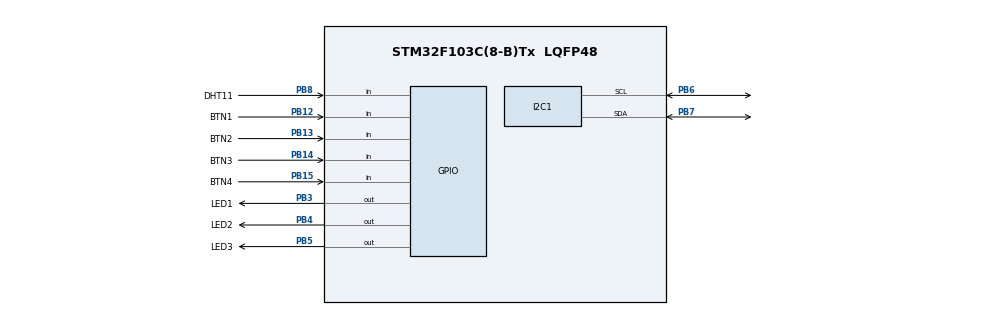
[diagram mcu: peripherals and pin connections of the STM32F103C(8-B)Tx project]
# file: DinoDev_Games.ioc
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Mcu.Family=STM32F1
Mcu.Name=STM32F103C(8-B)Tx
Mcu.Package=LQFP48
NVIC.PriorityGroup=NVIC_PRIORITYGROUP_4
PA13.Mode=Serial_Wire
PA13.Signal=SYS_JTMS-SWDIO
PA14.Mode=Serial_Wire
PA14.Signal=SYS_JTCK-SWCLK
PB12.GPIO_Label=BTN1
PB12.GPIO_PuPd=GPIO_PULLUP
PB12.Signal=GPIO_Input
PB13.GPIO_Label=BTN2
PB13.GPIO_PuPd=GPIO_PULLUP
PB13.Signal=GPIO_Input
PB14.GPIO_Label=BTN3
PB14.GPIO_PuPd=GPIO_PULLUP
PB14.Signal=GPIO_Input
PB15.GPIO_Label=BTN4
PB15.GPIO_PuPd=GPIO_PULLUP
PB15.Signal=GPIO_Input
PB3.GPIO_Label=LED1
PB3.PinState=GPIO_PIN_RESET
PB3.Signal=GPIO_Output
PB4.GPIO_Label=LED2
PB4.Signal=GPIO_Output
PB5.GPIO_Label=LED3
PB5.Signal=GPIO_Output
PB6.Mode=I2C
PB6.Signal=I2C1_SCL
PB7.Mode=I2C
PB7.Signal=I2C1_SDA
PB8.GPIO_Label=DHT11
PB8.Signal=GPIO_Input
PD0-OSC_IN.Mode=HSE-External-Oscillator
PD0-OSC_IN.Signal=RCC_OSC_IN
PD1-OSC_OUT.Mode=HSE-External-Oscillator
PD1-OSC_OUT.Signal=RCC_OSC_OUT
ProjectManager.HeapSize=0x200
ProjectManager.StackSize=0x400
ProjectManager.TargetToolchain=STM32CubeIDE
RCC.APB1Freq_Value=8000000
RCC.APB2Freq_Value=8000000
board=custom

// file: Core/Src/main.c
/* USER CODE BEGIN Header */
/**
 ******************************************************************************
 * @file           : main.c
 * @brief          : Main program body
 ******************************************************************************
 * @attention
 *
 * Copyright (c) 2023 STMicroelectronics.
 * All rights reserved.
 *
 * This software is licensed under terms that can be found in the LICENSE file
 * in the root directory of this software component.
 * If no LICENSE file comes with this software, it is provided AS-IS.
 *
 ******************************************************************************
 */
/* USER CODE END Header */
#include "main.h"

/* USER CODE BEGIN Includes */
#include "tetris.h"
#include "SpaceInvaders.h"
#include "ssd1306.h"
#include "button.h"
#include "Dino.h"
/* USER CODE END Includes */

/* USER CODE BEGIN PTD */
button BTNUP, BTNLEFT, BTNRIGHT, BTNDOWN;
/* USER CODE END PTD */

I2C_HandleTypeDef hi2c1;

void SystemClock_Config(void);
static void MX_GPIO_Init(void);
static void MX_I2C1_Init(void);

/* USER CODE BEGIN 0 */
void printPointer(uint8_t ptr)
{
	ssd1306_SetCursor(0, ptr * 10);
	ssd1306_WriteString(">", Font_7x10, White);
}

/* USER CODE END 0 */

int main(void)
{

	/* MCU Configuration--------------------------------------------------------*/

	/* Reset of all peripherals, Initializes the Flash interface and the Systick. */
	HAL_Init();

	/* Configure the system clock */
	SystemClock_Config();

	/* Initialize all configured peripherals */
	MX_GPIO_Init();
	MX_I2C1_Init();
	/* USER CODE BEGIN 2 */
	ssd1306_Init();
	BTNUP.PIN = GPIO_PIN_12;
	BTNUP.PORT = GPIOB;
	BTNUP.StateFlag = 0;
	BTNLEFT.PIN = GPIO_PIN_13;
	BTNLEFT.PORT = GPIOB;
	BTNLEFT.StateFlag = 0;
	BTNRIGHT.PIN = GPIO_PIN_14;
	BTNRIGHT.PORT = GPIOB;
	BTNRIGHT.StateFlag = 0;

	BTNDOWN.PIN = GPIO_PIN_15;
	BTNDOWN.PORT = GPIOB;
	BTNDOWN.StateFlag = 0;
	/* USER CODE END 2 */

	/* Infinite loop */
	/* USER CODE BEGIN WHILE */
	while (1)
	{
		static uint8_t pointer = 0;
		ssd1306_Fill(Black);
		ssd1306_SetCursor(7, 0);
		ssd1306_WriteString("Tetris", Font_6x8, White);
		ssd1306_SetCursor(7, 8);
		ssd1306_WriteString("Space Invaders", Font_6x8, White);
		ssd1306_SetCursor(7, 16);
		ssd1306_WriteString("Dino Run", Font_6x8, White);
		printPointer(pointer);
		if (Button_Check(BTNDOWN))
		{
			if (pointer > -1 && pointer < 3)
			{
				pointer++;
			}
		}
		else if (Button_Check(BTNUP))
		{
			if (pointer > 0 && pointer < 4)
			{
				pointer--;
			}
		}
		else if (Button_Check(BTNRIGHT))
		{
			switch (pointer)
			{
			case 0:
			{
				Tetris_GameLoop();
				break;
			}
			case 1:
			{
				SpaceInvaders_GameLoop();
				break;
			}
			case 2:
			{
				DinoGameLoop();
				break;
			}
			}
		}
		ssd1306_UpdateScreen();
		/* USER CODE END WHILE */

	}
}

void SystemClock_Config(void)
{
	RCC_OscInitTypeDef RCC_OscInitStruct =
	{ 0 };
	RCC_ClkInitTypeDef RCC_ClkInitStruct =
	{ 0 };

	/** Initializes the RCC Oscillators according to the specified parameters
	 * in the RCC_OscInitTypeDef structure.
	 */
	RCC_OscInitStruct.OscillatorType = RCC_OSCILLATORTYPE_HSI;
	RCC_OscInitStruct.HSIState = RCC_HSI_ON;
	RCC_OscInitStruct.HSICalibrationValue = RCC_HSICALIBRATION_DEFAULT;
	RCC_OscInitStruct.PLL.PLLState = RCC_PLL_NONE;
	if (HAL_RCC_OscConfig(&RCC_OscInitStruct) != HAL_OK)
	{
		Error_Handler();
	}

	/** Initializes the CPU, AHB and APB buses clocks
	 */
	RCC_ClkInitStruct.ClockType = RCC_CLOCKTYPE_HCLK | RCC_CLOCKTYPE_SYSCLK
			| RCC_CLOCKTYPE_PCLK1 | RCC_CLOCKTYPE_PCLK2;
	RCC_ClkInitStruct.SYSCLKSource = RCC_SYSCLKSOURCE_HSI;
	RCC_ClkInitStruct.AHBCLKDivider = RCC_SYSCLK_DIV1;
	RCC_ClkInitStruct.APB1CLKDivider = RCC_HCLK_DIV1;
	RCC_ClkInitStruct.APB2CLKDivider = RCC_HCLK_DIV1;

	if (HAL_RCC_ClockConfig(&RCC_ClkInitStruct, FLASH_LATENCY_0) != HAL_OK)
	{
		Error_Handler();
	}
}

static void MX_I2C1_Init(void)
{

	hi2c1.Instance = I2C1;
	hi2c1.Init.ClockSpeed = 100000;
	hi2c1.Init.DutyCycle = I2C_DUTYCYCLE_2;
	hi2c1.Init.OwnAddress1 = 0;
	hi2c1.Init.AddressingMode = I2C_ADDRESSINGMODE_7BIT;
	hi2c1.Init.DualAddressMode = I2C_DUALADDRESS_DISABLE;
	hi2c1.Init.OwnAddress2 = 0;
	hi2c1.Init.GeneralCallMode = I2C_GENERALCALL_DISABLE;
	hi2c1.Init.NoStretchMode = I2C_NOSTRETCH_DISABLE;
	if (HAL_I2C_Init(&hi2c1) != HAL_OK)
	{
		Error_Handler();
	}

}

static void MX_GPIO_Init(void)
{
	GPIO_InitTypeDef GPIO_InitStruct =
	{ 0 };

	/* GPIO Ports Clock Enable */
	__HAL_RCC_GPIOD_CLK_ENABLE();
	__HAL_RCC_GPIOB_CLK_ENABLE();
	__HAL_RCC_GPIOA_CLK_ENABLE();

	/*Configure GPIO pin Output Level */
	HAL_GPIO_WritePin(GPIOB, LED1_Pin | LED2_Pin | LED3_Pin, GPIO_PIN_RESET);

	/*Configure GPIO pins : BTN1_Pin BTN2_Pin BTN3_Pin BTN4_Pin */
	GPIO_InitStruct.Pin = BTN1_Pin | BTN2_Pin | BTN3_Pin | BTN4_Pin;
	GPIO_InitStruct.Mode = GPIO_MODE_INPUT;
	GPIO_InitStruct.Pull = GPIO_PULLUP;
	HAL_GPIO_Init(GPIOB, &GPIO_InitStruct);

	/*Configure GPIO pins : LED1_Pin LED2_Pin LED3_Pin */
	GPIO_InitStruct.Pin = LED1_Pin | LED2_Pin | LED3_Pin;
	GPIO_InitStruct.Mode = GPIO_MODE_OUTPUT_PP;
	GPIO_InitStruct.Pull = GPIO_NOPULL;
	GPIO_InitStruct.Speed = GPIO_SPEED_FREQ_LOW;
	HAL_GPIO_Init(GPIOB, &GPIO_InitStruct);

	/*Configure GPIO pin : DHT11_Pin */
	GPIO_InitStruct.Pin = DHT11_Pin;
	GPIO_InitStruct.Mode = GPIO_MODE_INPUT;
	GPIO_InitStruct.Pull = GPIO_NOPULL;
	HAL_GPIO_Init(DHT11_GPIO_Port, &GPIO_InitStruct);

}

void Error_Handler(void)
{
	__disable_irq();
	while (1)
	{
	}
}
